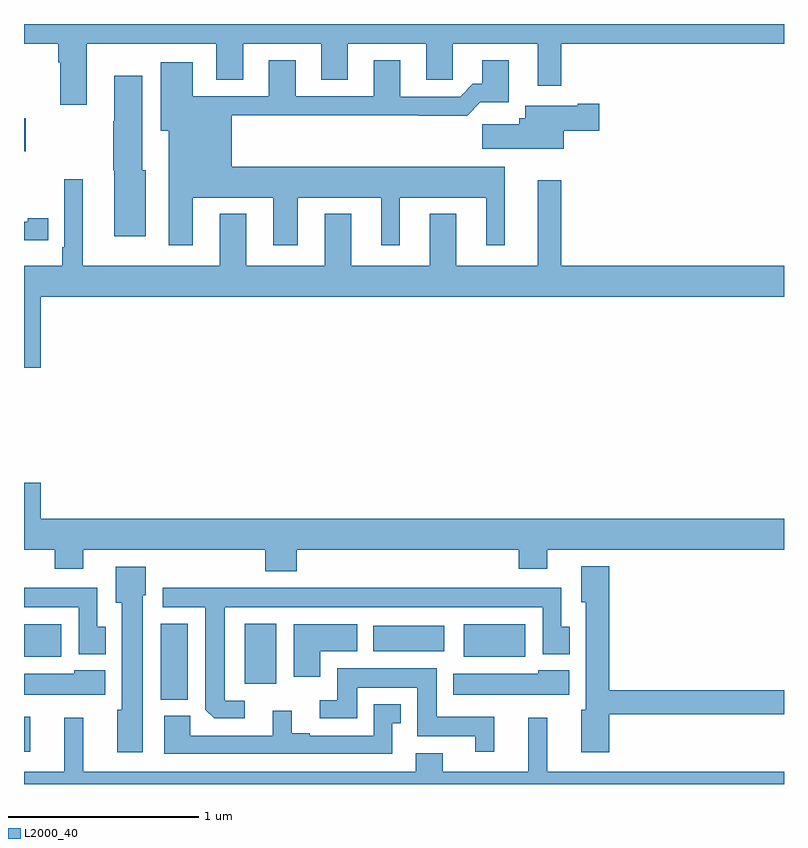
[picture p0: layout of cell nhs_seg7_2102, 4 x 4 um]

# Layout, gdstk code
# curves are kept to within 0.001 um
import gdstk
lib = gdstk.Library(unit=1e-6, precision=1e-09)
def R(c, l, rs):  # rectangles x0, y0, x1, y1
    for r in rs: c.add(gdstk.rectangle(r[:2], r[2:], *l))
def P(c, l, *ps):  # polygons
    for p in ps: c.add(gdstk.Polygon(p, *l))
L2000_40 = (2000, 40)

nhs_seg7_2102 = lib.new_cell('nhs_seg7_2102')
R(nhs_seg7_2102, L2000_40, [(249,1050.171,249.032,1050.355), (249.719,1050.443,249.862,1050.844), (250.163,1050.528,250.327,1050.844), (249,1050.671,249.196,1050.841), (251.315,1050.671,251.638,1050.841), (250.838,1050.698,251.212,1050.832), (249,1053.331,249.01,1053.505)])
P(nhs_seg7_2102, L2000_40, [(251.117,1053.706),(251.256,1053.706),(251.256,1053.896),(251.705,1053.896),(251.705,1053.675),(251.827,1053.675),(251.827,1053.896),(253,1053.896),(253,1054),(249,1054),(249,1053.896),(249.179,1053.896),(249.179,1053.8),(249.191,1053.8),(249.191,1053.576),(249.331,1053.576),(249.331,1053.896),(250.013,1053.896),(250.013,1053.706),(250.153,1053.706),(250.153,1053.896),(250.565,1053.896),(250.565,1053.706),(250.705,1053.706),(250.705,1053.896),(251.117,1053.896)],
  [(249.889,1053.086),(250.313,1053.086),(250.313,1052.835),(250.441,1052.835),(250.441,1053.086),(250.88,1053.086),(250.88,1052.835),(250.978,1052.835),(250.978,1053.086),(251.432,1053.086),(251.432,1052.835),(251.53,1052.835),(251.53,1053.25),(250.093,1053.25),(250.093,1053.52),(251.077,1053.52),(251.077,1053.518),(251.333,1053.518),(251.402,1053.587),(251.551,1053.587),(251.551,1053.808),(251.411,1053.808),(251.411,1053.685),(251.362,1053.685),(251.295,1053.618),(250.981,1053.618),(250.981,1053.808),(250.841,1053.808),(250.841,1053.621),(250.429,1053.621),(250.429,1053.808),(250.289,1053.808),(250.289,1053.621),(249.889,1053.621),(249.889,1053.799),(249.719,1053.799),(249.719,1053.437),(249.761,1053.437),(249.761,1052.835),(249.889,1052.835)],
  [(249.64,1053.231),(249.622,1053.231),(249.622,1053.727),(249.476,1053.727),(249.476,1053.488),(249.469,1053.488),(249.469,1053.231),(249.476,1053.231),(249.476,1052.883),(249.64,1052.883)],
  [(251.842,1053.437),(252.028,1053.437),(252.028,1053.579),(251.915,1053.579),(251.915,1053.571),(251.639,1053.571),(251.639,1053.505),(251.606,1053.505),(251.606,1053.473),(251.412,1053.473),(251.412,1053.344),(251.842,1053.344)],
  [(249.088,1052.564),(253,1052.564),(253,1052.728),(251.827,1052.728),(251.827,1053.178),(251.705,1053.178),(251.705,1052.728),(251.275,1052.728),(251.275,1053.001),(251.135,1053.001),(251.135,1052.728),(250.723,1052.728),(250.723,1053.001),(250.583,1053.001),(250.583,1052.728),(250.171,1052.728),(250.171,1053.001),(250.031,1053.001),(250.031,1052.728),(249.31,1052.728),(249.31,1053.184),(249.213,1053.184),(249.213,1052.824),(249.2,1052.824),(249.2,1052.728),(249,1052.728),(249,1052.19),(249.088,1052.19)],
  [(249.02,1052.862),(249.128,1052.862),(249.128,1052.978),(249.02,1052.978),(249.02,1052.958),(249,1052.958),(249,1052.861),(249.02,1052.861)],
  [(250.436,1051.232),(251.603,1051.232),(251.603,1051.133),(251.755,1051.133),(251.755,1051.232),(253,1051.232),(253,1051.396),(249.088,1051.396),(249.088,1051.585),(249,1051.585),(249,1051.232),(249.161,1051.232),(249.161,1051.133),(249.313,1051.133),(249.313,1051.232),(250.271,1051.232),(250.271,1051.121),(250.436,1051.121)],
  [(252.08,1050.366),(253,1050.366),(253,1050.494),(252.08,1050.494),(252.08,1051.147),(251.933,1051.147),(251.933,1050.957),(251.957,1050.957),(251.957,1050.39),(251.933,1050.39),(251.933,1050.168),(252.08,1050.168)],
  [(249.625,1050.993),(249.64,1050.993),(249.64,1051.144),(249.482,1051.144),(249.482,1050.953),(249.515,1050.953),(249.515,1050.39),(249.491,1050.39),(249.491,1050.168),(249.625,1050.168)],
  [(249.43,1050.828),(249.385,1050.828),(249.385,1051.033),(249,1051.033),(249,1050.929),(249.288,1050.929),(249.288,1050.684),(249.43,1050.684)],
  [(250.162,1050.438),(250.057,1050.438),(250.057,1050.929),(251.73,1050.929),(251.73,1050.684),(251.872,1050.684),(251.872,1050.828),(251.827,1050.828),(251.827,1051.033),(249.729,1051.033),(249.729,1050.929),(249.953,1050.929),(249.954,1050.391),(250,1050.345),(250.162,1050.345)],
  [(250.558,1050.698),(250.753,1050.698),(250.753,1050.841),(250.421,1050.841),(250.421,1050.564),(250.558,1050.564)],
  [(251.474,1050.355),(251.173,1050.355),(251.173,1050.61),(250.649,1050.61),(250.649,1050.441),(250.557,1050.441),(250.557,1050.345),(250.753,1050.345),(250.753,1050.506),(251.069,1050.506),(251.069,1050.251),(251.375,1050.251),(251.375,1050.171),(251.474,1050.171)],
  [(249.427,1050.598),(249.264,1050.598),(249.264,1050.58),(249,1050.58),(249,1050.47),(249.427,1050.47)],
  [(251.869,1050.598),(251.706,1050.598),(251.706,1050.58),(251.258,1050.58),(251.258,1050.47),(251.869,1050.47)],
  [(250.938,1050.321),(250.984,1050.321),(250.984,1050.421),(250.842,1050.421),(250.842,1050.255),(250.504,1050.255),(250.504,1050.268),(250.408,1050.268),(250.408,1050.385),(250.31,1050.385),(250.31,1050.255),(249.876,1050.255),(249.876,1050.358),(249.737,1050.358),(249.737,1050.159),(250.938,1050.159)],
  [(253,1050.064),(251.753,1050.064),(251.753,1050.349),(251.654,1050.349),(251.654,1050.064),(251.203,1050.064),(251.203,1050.163),(251.063,1050.163),(251.063,1050.064),(249.311,1050.064),(249.311,1050.349),(249.212,1050.349),(249.212,1050.064),(249,1050.064),(249,1050),(253,1050)])

lib.write_gds('nhs_seg7_2102.gds')
